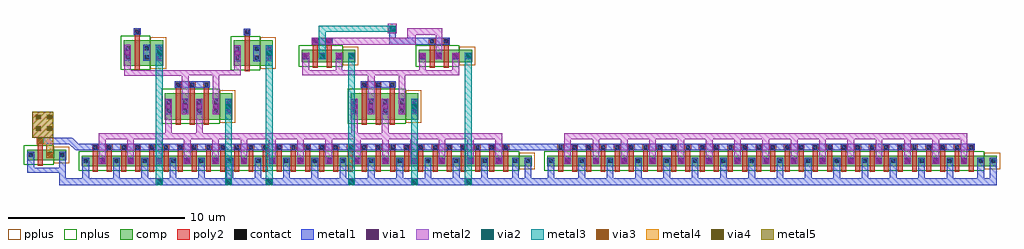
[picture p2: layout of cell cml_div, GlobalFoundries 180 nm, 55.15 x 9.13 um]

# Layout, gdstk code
import gdstk
lib = gdstk.Library(unit=1e-6, precision=1e-09)
def R(c, l, rs):  # rectangles x0, y0, x1, y1
    for r in rs: c.add(gdstk.rectangle(r[:2], r[2:], *l))
def A(c, l, x, y, w, h, nx, ny, dx, dy):  # array of equal rectangles
    R(c, l, [(x+i*dx, y+j*dy, x+i*dx+w, y+j*dy+h) for i in range(nx) for j in range(ny)])
def P(c, l, *ps):  # polygons
    for p in ps: c.add(gdstk.Polygon(p, *l))
comp = (22, 0)
poly2 = (30, 0)
pplus = (31, 0)
nplus = (32, 0)
contact = (33, 0)
metal1 = (34, 0)
via1 = (35, 0)
metal2 = (36, 0)
via2 = (38, 0)
via3 = (40, 0)
via4 = (41, 0)
metal3 = (42, 0)
metal4 = (46, 0)
metal5 = (81, 0)

nfet_5 = lib.new_cell('nfet$5')
R(nfet_5, comp, [(-0.42,0,0,1.44), (0,0,0.66,1.44), (0.66,0,1.08,1.44), (1.08,0,1.79,1.44)])
R(nfet_5, poly2, [(0.19,-0.3,0.47,1.74), (0.15,1.74,0.51,2.1)])
R(nfet_5, pplus, [(1.08,-0.17,1.96,1.61)])
R(nfet_5, nplus, [(-0.59,-0.24,1.08,1.68)])
R(nfet_5, contact, [(-0.32,0.355,-0.1,0.575), (0.76,0.355,0.98,0.575), (1.47,0.355,1.69,0.575), (-0.32,0.865,-0.1,1.085), (0.76,0.865,0.98,1.085), (1.47,0.865,1.69,1.085), (0.22,1.81,0.44,2.03)])
R(nfet_5, metal1, [(-0.4,0.275,-0.02,1.165), (0.68,0.275,1.06,1.165), (1.39,0.275,1.77,1.165), (0.14,1.73,0.52,2.11)])

nfet_1 = lib.new_cell('nfet$1')
R(nfet_1, comp, [(-0.42,0,0,0.61), (0,0,23.86,0.61), (23.86,0,24.28,0.61), (24.28,0,24.99,0.61)])
A(nfet_1, poly2, 0.19, -0.3, 0.28, 1.21, 30, 1, 0.8, 0)
A(nfet_1, poly2, 0.15, 0.91, 0.36, 0.36, 30, 1, 0.8, 0)
R(nfet_1, pplus, [(24.28,-0.17,25.16,0.78)])
R(nfet_1, nplus, [(-0.59,-0.24,24.28,0.85)])
A(nfet_1, contact, 0.62, 0.195, 0.22, 0.22, 29, 1, 0.8, 0)
A(nfet_1, contact, 0.22, 0.98, 0.22, 0.22, 30, 1, 0.8, 0)
R(nfet_1, contact, [(-0.32,0.195,-0.1,0.415), (23.96,0.195,24.18,0.415), (24.67,0.195,24.89,0.415)])
A(nfet_1, metal1, 0.54, 0.115, 0.38, 0.38, 29, 1, 0.8, 0)
A(nfet_1, metal1, 0.14, 0.9, 0.38, 0.38, 30, 1, 0.8, 0)
R(nfet_1, metal1, [(-0.4,0.115,-0.02,0.495), (23.88,0.115,24.26,0.495), (24.59,0.115,24.97,0.495)])

nfet_2_1 = lib.new_cell('nfet$2$1')
R(nfet_2_1, comp, [(-0.42,0,0,1.5), (0,0,2.26,1.5), (2.26,0,2.68,1.5), (2.68,0,3.39,1.5)])
A(nfet_2_1, poly2, 0.19, -0.3, 0.28, 2.1, 3, 1, 0.8, 0)
A(nfet_2_1, poly2, 0.15, 1.8, 0.36, 0.36, 3, 1, 0.8, 0)
R(nfet_2_1, pplus, [(2.68,-0.17,3.56,1.67)])
R(nfet_2_1, nplus, [(-0.59,-0.24,2.68,1.74)])
A(nfet_2_1, contact, 0.22, 1.87, 0.22, 0.22, 3, 1, 0.8, 0)
R(nfet_2_1, contact, [(-0.32,0.385,-0.1,0.605), (0.62,0.385,0.84,0.605), (1.42,0.385,1.64,0.605), (2.36,0.385,2.58,0.605), (3.07,0.385,3.29,0.605), (-0.32,0.895,-0.1,1.115), (0.62,0.895,0.84,1.115), (1.42,0.895,1.64,1.115), (2.36,0.895,2.58,1.115), (3.07,0.895,3.29,1.115)])
A(nfet_2_1, metal1, 0.14, 1.79, 0.38, 0.38, 3, 1, 0.8, 0)
R(nfet_2_1, metal1, [(-0.4,0.305,-0.02,1.195), (0.54,0.305,0.92,1.195), (1.34,0.305,1.72,1.195), (2.28,0.305,2.66,1.195), (2.99,0.305,3.37,1.195)])

nfet_2_2 = lib.new_cell('nfet$2$2')
R(nfet_2_2, comp, [(-0.42,0,0,1.5), (0,0,2.26,1.5), (2.26,0,2.68,1.5), (2.68,0,3.39,1.5)])
A(nfet_2_2, poly2, 0.19, -0.3, 0.28, 2.1, 3, 1, 0.8, 0)
A(nfet_2_2, poly2, 0.15, 1.8, 0.36, 0.36, 3, 1, 0.8, 0)
R(nfet_2_2, pplus, [(2.68,-0.17,3.56,1.67)])
R(nfet_2_2, nplus, [(-0.59,-0.24,2.68,1.74)])
A(nfet_2_2, contact, 0.22, 1.87, 0.22, 0.22, 3, 1, 0.8, 0)
R(nfet_2_2, contact, [(-0.32,0.385,-0.1,0.605), (0.62,0.385,0.84,0.605), (1.42,0.385,1.64,0.605), (2.36,0.385,2.58,0.605), (3.07,0.385,3.29,0.605), (-0.32,0.895,-0.1,1.115), (0.62,0.895,0.84,1.115), (1.42,0.895,1.64,1.115), (2.36,0.895,2.58,1.115), (3.07,0.895,3.29,1.115)])
A(nfet_2_2, metal1, 0.14, 1.79, 0.38, 0.38, 3, 1, 0.8, 0)
R(nfet_2_2, metal1, [(-0.4,0.305,-0.02,1.195), (0.54,0.305,0.92,1.195), (1.34,0.305,1.72,1.195), (2.28,0.305,2.66,1.195), (2.99,0.305,3.37,1.195)])

nfet_3_1 = lib.new_cell('nfet$3$1')
R(nfet_3_1, comp, [(-0.42,0,0,0.72), (0,0,1.46,0.72), (1.46,0,1.88,0.72), (1.88,0,2.59,0.72)])
R(nfet_3_1, poly2, [(0.19,-0.3,0.47,1.02), (0.99,-0.3,1.27,1.02), (0.15,1.02,0.51,1.38), (0.95,1.02,1.31,1.38)])
R(nfet_3_1, pplus, [(1.88,-0.17,2.76,0.89)])
R(nfet_3_1, nplus, [(-0.59,-0.24,1.88,0.96)])
A(nfet_3_1, contact, -0.32, 0.25, 0.22, 0.22, 3, 1, 0.94, 0)
R(nfet_3_1, contact, [(2.27,0.25,2.49,0.47), (0.22,1.09,0.44,1.31), (1.02,1.09,1.24,1.31)])
A(nfet_3_1, metal1, -0.4, 0.17, 0.38, 0.38, 3, 1, 0.94, 0)
R(nfet_3_1, metal1, [(2.19,0.17,2.57,0.55), (0.14,1.01,0.52,1.39), (0.94,1.01,1.32,1.39)])

nfet_4 = lib.new_cell('nfet$4')
R(nfet_4, comp, [(-0.42,0,0,0.61), (0,0,0.66,0.61), (0.66,0,1.08,0.61), (1.08,0,1.79,0.61)])
R(nfet_4, poly2, [(0.19,-0.3,0.47,0.91), (0.15,0.91,0.51,1.27)])
R(nfet_4, pplus, [(1.08,-0.17,1.96,0.78)])
R(nfet_4, nplus, [(-0.59,-0.24,1.08,0.85)])
R(nfet_4, contact, [(-0.32,0.195,-0.1,0.415), (0.76,0.195,0.98,0.415), (1.47,0.195,1.69,0.415), (0.22,0.98,0.44,1.2)])
R(nfet_4, metal1, [(-0.4,0.115,-0.02,0.495), (0.68,0.115,1.06,0.495), (1.39,0.115,1.77,0.495), (0.14,0.9,0.52,1.28)])

cml_div = lib.new_cell('cml_div')
R(cml_div, metal1, [(1.02,-10.455,1.4,-9.27), (1.02,-10.455,1.4,-9.27), (2.62,-10.455,3,-9.27), (2.62,-10.455,3,-9.27), (4.22,-10.455,4.6,-9.27), (4.22,-10.455,4.6,-9.27), (5.82,-10.455,6.2,-9.27), (5.82,-10.455,6.2,-9.27), (7.42,-10.455,7.8,-9.27), (7.42,-10.455,7.8,-9.27), (7.42,-10.455,7.8,-9.27), (7.42,-10.455,7.8,-9.27), (9.02,-10.455,9.4,-9.27), (9.02,-10.455,9.4,-9.27), (10.62,-10.455,11,-9.27), (10.62,-10.455,11,-9.27), (12.22,-10.455,12.6,-9.27), (12.22,-10.455,12.6,-9.27), (13.82,-10.455,14.2,-9.27), (13.82,-10.455,14.2,-9.27), (15.42,-10.455,15.8,-9.27), (15.42,-10.455,15.8,-9.27), (17.02,-10.455,17.4,-9.27), (17.02,-10.455,17.4,-9.27), (18.62,-10.455,19,-9.27), (18.62,-10.455,19,-9.27), (20.22,-10.455,20.6,-9.27), (20.22,-10.455,20.6,-9.27), (21.82,-10.455,22.2,-9.27), (21.82,-10.455,22.2,-9.27), (23.56,-10.455,23.94,-9.27), (23.56,-10.455,23.94,-9.27), (24.27,-10.455,25.965,-10.055), (27.31,-10.455,27.69,-9.27), (27.31,-10.455,27.69,-9.27), (28.91,-10.455,29.29,-9.27), (28.91,-10.455,29.29,-9.27), (30.51,-10.455,30.89,-9.27), (30.51,-10.455,30.89,-9.27), (32.11,-10.455,32.49,-9.27), (32.11,-10.455,32.49,-9.27), (33.71,-10.455,34.09,-9.27), (33.71,-10.455,34.09,-9.27), (35.31,-10.455,35.69,-9.27), (35.31,-10.455,35.69,-9.27), (36.91,-10.455,37.29,-9.27), (36.91,-10.455,37.29,-9.27), (38.51,-10.455,38.89,-9.27), (38.51,-10.455,38.89,-9.27), (40.11,-10.455,40.49,-9.27), (40.11,-10.455,40.49,-9.27), (41.71,-10.455,42.09,-9.27), (41.71,-10.455,42.09,-9.27), (43.31,-10.455,43.69,-9.27), (43.31,-10.455,43.69,-9.27), (44.91,-10.455,45.29,-9.27), (44.91,-10.455,45.29,-9.27), (46.51,-10.455,46.89,-9.27), (46.51,-10.455,46.89,-9.27), (48.11,-10.455,48.49,-9.27), (48.11,-10.455,48.49,-9.27), (49.85,-10.455,50.23,-9.27), (49.85,-10.455,50.23,-9.27), (-3.825,-9.755,-3.445,-8.93), (-3.445,-9.755,-1.655,-9.46), (-2.035,-9.72,-1.655,-8.93), (-0.18,-8.485,23.02,-8.105), (23.4,-8.485,26.11,-8.105), (26.49,-8.485,49.31,-8.105), (4.885,-4.955,6.105,-4.575), (15.39,-4.955,16.61,-4.575), (12.63,-2.5,13.05,-2.12), (19.23,-2.5,19.65,-2.12), (16.62,-1.775,16.99,-1.43)])
P(cml_div, metal1, [(-0.72,-10.455),(-0.72,-9.27),(-0.34,-9.27),(-0.34,-10.055),(23.94,-10.055),(23.94,-10.455)],
  [(-0.72,-10.455),(-0.72,-9.27),(-0.34,-9.27),(-0.34,-10.055),(23.94,-10.055),(23.94,-10.455)],
  [(50.23,-10.455),(50.23,-10.055),(50.56,-10.055),(50.56,-9.27),(50.94,-9.27),(50.94,-10.455)],
  [(25.57,-10.455),(25.57,-9.27),(25.95,-9.27),(25.95,-10.055),(50.23,-10.055),(50.23,-10.455)],
  [(25.57,-10.455),(25.57,-9.27),(25.95,-9.27),(25.95,-10.055),(50.23,-10.055),(50.23,-10.455)],
  [(50.23,-10.455),(50.23,-10.055),(50.56,-10.055),(50.56,-9.27),(50.94,-9.27),(50.94,-10.455)],
  [(-2.035,-10.455),(-2.035,-9.72),(-1.655,-9.72),(-1.655,-10.055),(-0.34,-10.055),(-0.34,-10.455)],
  [(23.94,-10.455),(23.94,-10.055),(24.27,-10.055),(24.27,-9.27),(24.65,-9.27),(24.65,-10.455)],
  [(23.94,-10.455),(23.94,-10.055),(24.27,-10.055),(24.27,-9.27),(24.65,-9.27),(24.65,-10.455)],
  [(-1.105,-8.485),(-1.445,-8.145),(-2.905,-8.145),(-2.905,-7.765),(-1.295,-7.765),(-0.955,-8.105),(-0.18,-8.105),(-0.18,-8.485)],
  [(16.62,-2.5),(16.62,-1.775),(16.99,-1.775),(16.99,-2.12),(18.85,-2.12),(18.85,-2.5)])
A(cml_div, via1, 0.28, -9.21, 0.26, 0.26, 15, 1, 1.6, 0)
A(cml_div, via1, 26.57, -9.21, 0.26, 0.26, 15, 1, 1.6, 0)
A(cml_div, via1, 18.37, -3.28, 0.26, 0.26, 3, 1, 0.94, 0)
R(cml_div, via1, [(3.5,-10.38,3.76,-10.12), (3.5,-10.38,3.76,-10.12), (3.5,-10.38,3.76,-10.12), (3.5,-10.38,3.76,-10.12), (7.415,-10.38,7.675,-10.12), (7.415,-10.38,7.675,-10.12), (9.71,-10.38,9.97,-10.12), (9.71,-10.38,9.97,-10.12), (9.71,-10.38,9.97,-10.12), (9.71,-10.38,9.97,-10.12), (14.36,-10.38,14.62,-10.12), (14.36,-10.38,14.62,-10.12), (14.36,-10.38,14.62,-10.12), (14.36,-10.38,14.62,-10.12), (14.36,-10.38,14.62,-10.12), (14.36,-10.38,14.62,-10.12), (14.36,-10.38,14.62,-10.12), (14.36,-10.38,14.62,-10.12), (17.92,-10.38,18.18,-10.12), (17.92,-10.38,18.18,-10.12), (20.96,-10.38,21.22,-10.12), (20.96,-10.38,21.22,-10.12), (20.96,-10.38,21.22,-10.12), (20.96,-10.38,21.22,-10.12), (20.96,-10.38,21.22,-10.12), (20.96,-10.38,21.22,-10.12), (20.96,-10.38,21.22,-10.12), (20.96,-10.38,21.22,-10.12), (-2.685,-8.87,-2.425,-8.61), (-3.225,-8.085,-2.965,-7.825), (4.025,-6.12,4.285,-5.86), (4.025,-6.12,4.285,-5.86), (4.965,-6.12,5.225,-5.86), (5.765,-6.12,6.025,-5.86), (5.765,-6.12,6.025,-5.86), (6.705,-6.12,6.965,-5.86), (7.415,-6.12,7.675,-5.86), (7.415,-6.12,7.675,-5.86), (14.53,-6.12,14.79,-5.86), (14.53,-6.12,14.79,-5.86), (15.47,-6.12,15.73,-5.86), (16.27,-6.12,16.53,-5.86), (16.27,-6.12,16.53,-5.86), (17.21,-6.12,17.47,-5.86), (17.92,-6.12,18.18,-5.86), (17.92,-6.12,18.18,-5.86), (11.77,-3.28,12.03,-3.02), (13.65,-3.28,13.91,-3.02), (14.36,-3.28,14.62,-3.02), (14.36,-3.28,14.62,-3.02), (20.96,-3.28,21.22,-3.02), (20.96,-3.28,21.22,-3.02), (7.92,-3.115,8.18,-2.855), (9.71,-3.115,9.97,-2.855), (9.71,-3.115,9.97,-2.855), (9.71,-3.115,9.97,-2.855), (9.71,-3.115,9.97,-2.855), (1.71,-3.095,1.97,-2.835), (3.5,-3.095,3.76,-2.835), (3.5,-3.095,3.76,-2.835), (3.5,-3.095,3.76,-2.835), (3.5,-3.095,3.76,-2.835), (12.31,-2.44,12.57,-2.18), (13.11,-2.44,13.37,-2.18)])
A(cml_div, metal2, 0.22, -9.27, 0.38, 0.38, 15, 1, 1.6, 0)
A(cml_div, metal2, 26.51, -9.27, 0.38, 0.38, 15, 1, 1.6, 0)
A(cml_div, metal2, 0.22, -8.89, 0.38, 1.365, 15, 1, 1.6, 0)
A(cml_div, metal2, 26.51, -8.89, 0.38, 1.365, 15, 1, 1.6, 0)
A(cml_div, metal2, 11.71, -3.34, 0.38, 0.38, 3, 1, 0.94, 0)
A(cml_div, metal2, 18.31, -3.34, 0.38, 0.38, 3, 1, 0.94, 0)
R(cml_div, metal2, [(3.44,-10.455,3.82,-10.055), (3.44,-10.455,3.82,-10.055), (3.44,-10.455,3.82,-10.055), (3.44,-10.455,3.82,-10.055), (7.355,-10.455,7.735,-10.055), (7.355,-10.455,7.735,-10.055), (9.65,-10.455,10.03,-10.055), (9.65,-10.455,10.03,-10.055), (9.65,-10.455,10.03,-10.055), (9.65,-10.455,10.03,-10.055), (14.3,-10.455,14.68,-10.055), (14.3,-10.455,14.68,-10.055), (14.3,-10.455,14.68,-10.055), (14.3,-10.455,14.68,-10.055), (17.86,-10.455,18.24,-10.055), (17.86,-10.455,18.24,-10.055), (20.9,-10.455,21.28,-10.055), (20.9,-10.455,21.28,-10.055), (20.9,-10.455,21.28,-10.055), (20.9,-10.455,21.28,-10.055), (-2.745,-8.93,-2.365,-8.55), (-3.285,-8.145,-2.905,-7.765), (26.51,-7.865,49.29,-7.525), (0.22,-7.845,23,-7.525), (3.965,-7.54,4.345,-6.44), (14.47,-7.54,14.85,-6.44), (5.705,-7.525,6.085,-6.44), (16.21,-7.525,16.59,-6.44), (3.965,-6.44,4.345,-5.55), (3.965,-6.44,4.345,-5.55), (4.905,-6.44,5.285,-5.55), (5.705,-6.44,6.085,-5.55), (5.705,-6.44,6.085,-5.55), (6.645,-6.44,7.025,-5.55), (7.355,-6.44,7.735,-5.55), (7.355,-6.44,7.735,-5.55), (14.47,-6.44,14.85,-5.55), (14.47,-6.44,14.85,-5.55), (15.41,-6.44,15.79,-5.55), (16.21,-6.44,16.59,-5.55), (16.21,-6.44,16.59,-5.55), (17.15,-6.44,17.53,-5.55), (17.86,-6.44,18.24,-5.55), (17.86,-6.44,18.24,-5.55), (1.65,-4.275,2.03,-3.415), (7.86,-3.435,8.24,-2.545), (9.65,-3.435,10.03,-2.545), (9.65,-3.435,10.03,-2.545), (9.65,-3.435,10.03,-2.545), (9.65,-3.435,10.03,-2.545), (1.65,-3.415,2.03,-2.525), (3.44,-3.415,3.82,-2.525), (3.44,-3.415,3.82,-2.525), (3.44,-3.415,3.82,-2.525), (3.44,-3.415,3.82,-2.525), (14.3,-3.34,14.68,-2.96), (20.9,-3.34,21.28,-2.96), (12.25,-2.5,13.43,-2.12), (16.54,-1.87,17.04,-1.32)])
P(cml_div, metal2, [(4.905,-5.55),(4.905,-4.275),(1.65,-4.275),(1.65,-3.945),(7.86,-3.945),(7.86,-3.435),(8.24,-3.435),(8.24,-4.23),(7.025,-4.23),(7.025,-5.55),(6.645,-5.55),(6.645,-4.23),(5.285,-4.23),(5.285,-5.55)],
  [(15.41,-5.55),(15.41,-4.23),(11.71,-4.23),(11.71,-3.34),(12.09,-3.34),(12.09,-3.945),(13.59,-3.945),(13.59,-3.34),(13.97,-3.34),(13.97,-3.945),(17.53,-3.945),(17.53,-5.55),(17.15,-5.55),(17.15,-4.23),(15.79,-4.23),(15.79,-5.55)],
  [(17.15,-4.23),(17.15,-3.945),(18.31,-3.945),(18.31,-3.34),(18.69,-3.34),(18.69,-3.945),(20.19,-3.945),(20.19,-3.34),(20.57,-3.34),(20.57,-4.23)],
  [(19.25,-2.96),(19.25,-1.945),(18.11,-1.945),(18.11,-2.5),(13.43,-2.5),(13.43,-2.12),(17.635,-2.12),(17.635,-1.59),(19.63,-1.59),(19.63,-2.96)])
R(cml_div, via2, [(3.5,-10.38,3.76,-10.12), (3.5,-10.38,3.76,-10.12), (3.5,-10.38,3.76,-10.12), (3.5,-10.38,3.76,-10.12), (7.415,-10.38,7.675,-10.12), (7.415,-10.38,7.675,-10.12), (9.71,-10.38,9.97,-10.12), (9.71,-10.38,9.97,-10.12), (9.71,-10.38,9.97,-10.12), (9.71,-10.38,9.97,-10.12), (14.36,-10.38,14.62,-10.12), (14.36,-10.38,14.62,-10.12), (14.36,-10.38,14.62,-10.12), (14.36,-10.38,14.62,-10.12), (14.36,-10.38,14.62,-10.12), (14.36,-10.38,14.62,-10.12), (14.36,-10.38,14.62,-10.12), (14.36,-10.38,14.62,-10.12), (17.92,-10.38,18.18,-10.12), (17.92,-10.38,18.18,-10.12), (20.96,-10.38,21.22,-10.12), (20.96,-10.38,21.22,-10.12), (20.96,-10.38,21.22,-10.12), (20.96,-10.38,21.22,-10.12), (20.96,-10.38,21.22,-10.12), (20.96,-10.38,21.22,-10.12), (20.96,-10.38,21.22,-10.12), (20.96,-10.38,21.22,-10.12), (-2.685,-8.87,-2.425,-8.61), (-3.225,-8.085,-2.965,-7.825), (7.415,-6.12,7.675,-5.86), (7.415,-6.12,7.675,-5.86), (17.92,-6.12,18.18,-5.86), (17.92,-6.12,18.18,-5.86), (12.71,-3.28,12.97,-3.02), (12.71,-3.28,12.97,-3.02), (14.36,-3.28,14.62,-3.02), (14.36,-3.28,14.62,-3.02), (20.96,-3.28,21.22,-3.02), (20.96,-3.28,21.22,-3.02), (9.71,-3.115,9.97,-2.855), (9.71,-3.115,9.97,-2.855), (9.71,-3.115,9.97,-2.855), (9.71,-3.115,9.97,-2.855), (3.5,-3.095,3.76,-2.835), (3.5,-3.095,3.76,-2.835), (3.5,-3.095,3.76,-2.835), (3.5,-3.095,3.76,-2.835), (16.68,-1.73,16.94,-1.47)])
R(cml_div, via3, [(-2.685,-8.87,-2.425,-8.61), (-3.225,-8.085,-2.965,-7.825)])
R(cml_div, via4, [(-3.34,-7.37,-3.08,-7.11), (-2.72,-7.37,-2.46,-7.11), (-3.34,-6.715,-3.08,-6.455), (-2.72,-6.715,-2.46,-6.455)])
R(cml_div, metal3, [(3.44,-10.455,3.82,-3.415), (7.355,-10.455,7.735,-6.44), (7.355,-10.455,7.735,-6.44), (9.65,-10.455,10.03,-3.435), (14.3,-10.455,14.68,-3.34), (17.86,-10.455,18.24,-6.44), (17.86,-10.455,18.24,-6.44), (20.9,-10.455,21.28,-3.34), (9.65,-10.055,10.03,-3.435), (-2.745,-8.93,-2.365,-8.55), (-3.285,-8.145,-2.905,-7.765), (7.355,-6.44,7.735,-5.55), (7.355,-6.44,7.735,-5.55), (17.86,-6.44,18.24,-5.55), (17.86,-6.44,18.24,-5.55), (9.65,-3.435,10.03,-2.545), (9.65,-3.435,10.03,-2.545), (9.65,-3.435,10.03,-2.545), (9.65,-3.435,10.03,-2.545), (3.44,-3.415,3.82,-2.525), (3.44,-3.415,3.82,-2.525), (3.44,-3.415,3.82,-2.525), (3.44,-3.415,3.82,-2.525), (12.65,-3.34,13.03,-2.96), (14.3,-3.34,14.68,-2.96), (20.9,-3.34,21.28,-2.96)])
P(cml_div, metal3, [(12.65,-2.96),(12.65,-1.43),(16.99,-1.43),(16.99,-1.775),(13.03,-1.775),(13.03,-2.96)])
R(cml_div, metal4, [(-2.745,-8.93,-2.365,-8.55), (-3.285,-8.145,-2.905,-7.765), (-3.545,-7.765,-2.365,-6.285)])
P(cml_div, metal4, [(-2.745,-8.55),(-2.745,-8.145),(-2.905,-8.145),(-2.905,-7.765),(-2.365,-7.765),(-2.365,-8.55)])
R(cml_div, metal5, [(-3.545,-7.765,-2.365,-6.285)])
cml_div.add(gdstk.Reference(nfet_5, (2.05,-3.69)))
cml_div.add(gdstk.Reference(nfet_5, (8.26,-3.71)))
cml_div.add(gdstk.Reference(nfet_1, (-0.32,-9.385)))
cml_div.add(gdstk.Reference(nfet_2_1, (4.365,-6.745)))
cml_div.add(gdstk.Reference(nfet_2_2, (14.87,-6.745)))
cml_div.add(gdstk.Reference(nfet_3_1, (12.11,-3.51)))
cml_div.add(gdstk.Reference(nfet_4, (-3.425,-9.045)))
cml_div.add(gdstk.Reference(nfet_1, (25.97,-9.385)))
cml_div.add(gdstk.Reference(nfet_3_1, (18.71,-3.51)))

lib.write_gds('cml_div.gds')
